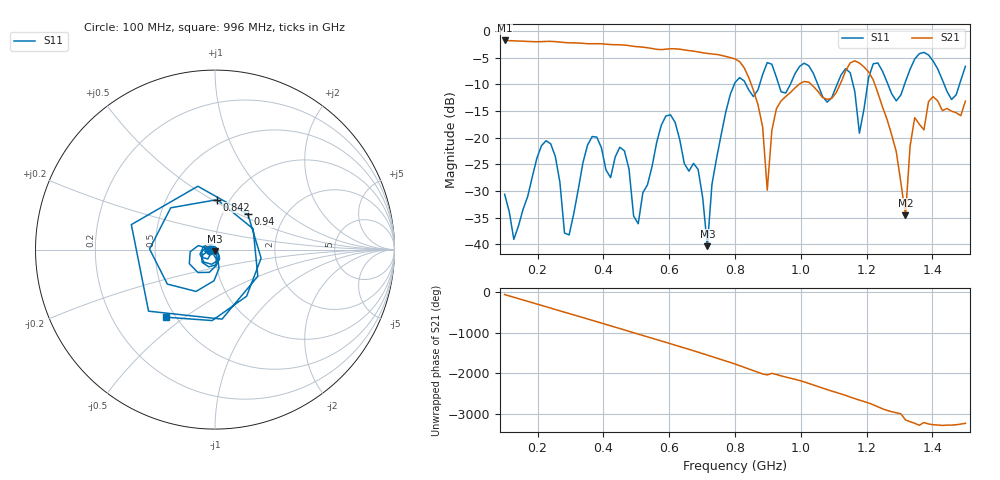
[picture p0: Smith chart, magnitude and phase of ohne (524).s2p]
! NanoVNA-App
! Date: 2025-09-25 14:24:53
! Start: 100MHz Stop: 1,5GHz Points: 101
! S-Parameter data: F S11 S21 S12 S22
# Hz S RI R 50
!  Frequency  S11_Real  S11_Imag  S21_Real  S21_Imag  S12_Real  S12_Imag  S22_Real  S22_Imag
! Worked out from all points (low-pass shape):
!   101 points, 100 MHz to 1.5 GHz, reference 50 ohm
!   highest |S21| = -1.79 dB at 100 MHz (marker M1); lowest = -34.6 dB at 1.318 GHz (marker M2)
!   |S21| within 3 dB of the highest: start of sweep to 771.6 MHz
!   lowest |S11| = -40.4 dB at 716 MHz (marker M3), VSWR 1.02, Z = 49.8 - j0.939 ohm
!   |S11| at or under -10 dB: start of sweep to 798 MHz; 833 MHz to 875.1 MHz (42.06 MHz wide, 4.93 % of centre); 1.051 GHz to 1.11 GHz (59.09 MHz wide, 5.47 % of centre) (the widest 3 of 7)
!   S12 and S22 are empty: the file has one direction only
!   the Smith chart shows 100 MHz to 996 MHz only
!   S11 on the Smith chart (normalised r, x): 100 MHz: 0.94, -0.01; 842 MHz: 0.88, +0.53; 940 MHz: 1.32, +0.56; 996 MHz: 0.45, -0.43
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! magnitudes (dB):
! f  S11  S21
! 100 MHz  -30.6  -1.8
! 128 MHz  -39.1  -1.9
! 226 MHz  -20.6  -2.0
! 296 MHz  -38.3  -2.2
! 338 MHz  -24.7  -2.3
! 464 MHz  -22.5  -2.7
! 506 MHz  -36.2  -3.0
! 576 MHz  -17.7  -3.5
! 688 MHz  -26.0  -3.9
! 716 MHz  -40.4  -4.2
! 800 MHz  -9.7  -5.3
! 842 MHz  -11.1  -8.8
! 898 MHz  -5.9  -29.9
! 940 MHz  -11.4  -13.1
! 996 MHz  -6.7  -10.0
! 1.038 GHz  -8.0  -10.4
! 1.178 GHz  -19.2  -6.0
! 1.22 GHz  -6.2  -9.2
! 1.276 GHz  -11.8  -19.5
! 1.318 GHz  -9.5  -34.6
! 1.346 GHz  -5.3  -16.3
! 1.5 GHz  -6.7  -13.2
